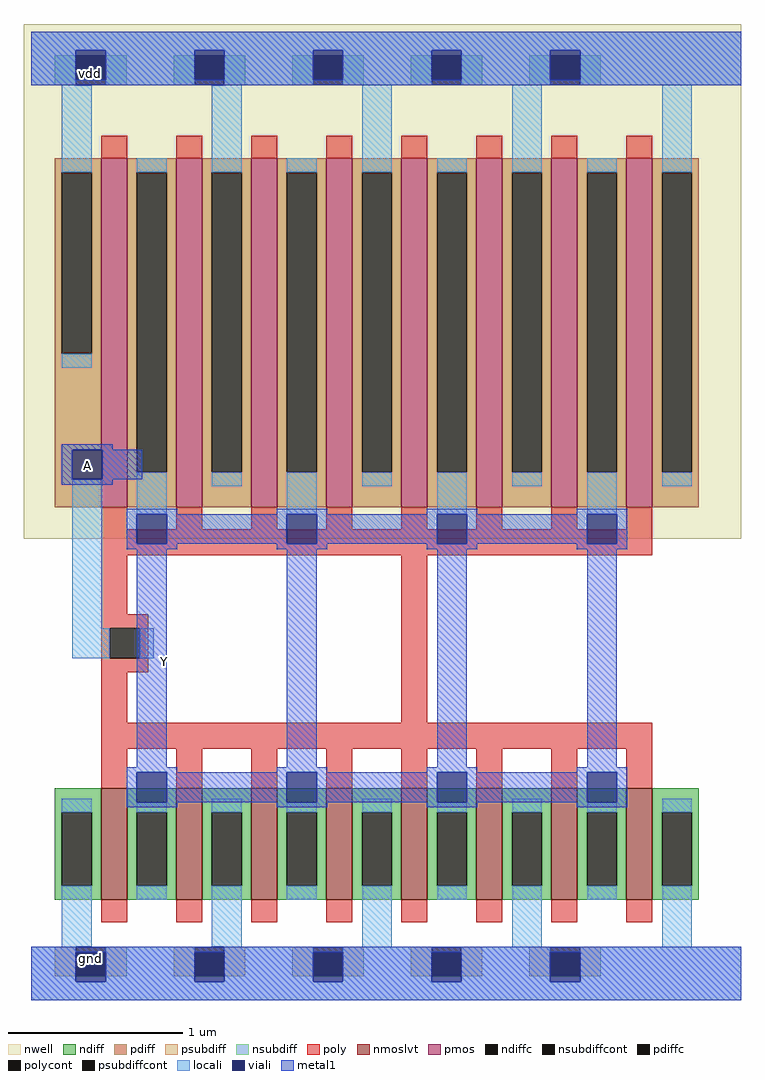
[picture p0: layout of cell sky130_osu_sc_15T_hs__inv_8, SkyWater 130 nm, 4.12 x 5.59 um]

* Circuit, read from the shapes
.subckt sky130_osu_sc_15T_hs__inv_8 Y A
XM1 Y A gnd gnd sky130_fd_pr__nfet_01v8_lvt w=0.64 l=0.15 m=8
XM2 Y A vdd vdd sky130_fd_pr__pfet_01v8 w=2 l=0.15 m=8
.ends

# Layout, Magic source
magic
tech sky130A
magscale 1 2
<< nwell >>
rect -9 529 814 1119
<< nmoslvt >>
rect 80 115 110 243
rect 166 115 196 243
rect 252 115 282 243
rect 338 115 368 243
rect 424 115 454 243
rect 510 115 540 243
rect 596 115 626 243
rect 682 115 712 243
<< pmos >>
rect 80 565 110 965
rect 166 565 196 965
rect 252 565 282 965
rect 338 565 368 965
rect 424 565 454 965
rect 510 565 540 965
rect 596 565 626 965
rect 682 565 712 965
<< ndiff >>
rect 27 215 80 243
rect 27 131 35 215
rect 69 131 80 215
rect 27 115 80 131
rect 110 215 166 243
rect 110 131 121 215
rect 155 131 166 215
rect 110 115 166 131
rect 196 215 252 243
rect 196 131 207 215
rect 241 131 252 215
rect 196 115 252 131
rect 282 215 338 243
rect 282 131 293 215
rect 327 131 338 215
rect 282 115 338 131
rect 368 215 424 243
rect 368 131 379 215
rect 413 131 424 215
rect 368 115 424 131
rect 454 215 510 243
rect 454 131 465 215
rect 499 131 510 215
rect 454 115 510 131
rect 540 215 596 243
rect 540 131 551 215
rect 585 131 596 215
rect 540 115 596 131
rect 626 215 682 243
rect 626 131 637 215
rect 671 131 682 215
rect 626 115 682 131
rect 712 215 765 243
rect 712 131 723 215
rect 757 131 765 215
rect 712 115 765 131
<< pdiff >>
rect 27 949 80 965
rect 27 741 35 949
rect 69 741 80 949
rect 27 565 80 741
rect 110 949 166 965
rect 110 605 121 949
rect 155 605 166 949
rect 110 565 166 605
rect 196 949 252 965
rect 196 605 207 949
rect 241 605 252 949
rect 196 565 252 605
rect 282 949 338 965
rect 282 605 293 949
rect 327 605 338 949
rect 282 565 338 605
rect 368 949 424 965
rect 368 605 379 949
rect 413 605 424 949
rect 368 565 424 605
rect 454 949 510 965
rect 454 605 465 949
rect 499 605 510 949
rect 454 565 510 605
rect 540 949 596 965
rect 540 605 551 949
rect 585 605 596 949
rect 540 565 596 605
rect 626 949 682 965
rect 626 605 637 949
rect 671 605 682 949
rect 626 565 682 605
rect 712 949 765 965
rect 712 605 723 949
rect 757 605 765 949
rect 712 565 765 605
<< ndiffc >>
rect 35 131 69 215
rect 121 131 155 215
rect 207 131 241 215
rect 293 131 327 215
rect 379 131 413 215
rect 465 131 499 215
rect 551 131 585 215
rect 637 131 671 215
rect 723 131 757 215
<< pdiffc >>
rect 35 741 69 949
rect 121 605 155 949
rect 207 605 241 949
rect 293 605 327 949
rect 379 605 413 949
rect 465 605 499 949
rect 551 605 585 949
rect 637 605 671 949
rect 723 605 757 949
<< psubdiff >>
rect 27 27 51 61
rect 85 27 109 61
rect 163 27 187 61
rect 221 27 245 61
rect 299 27 323 61
rect 357 27 381 61
rect 435 27 459 61
rect 493 27 517 61
rect 571 27 595 61
rect 629 27 653 61
<< nsubdiff >>
rect 27 1049 51 1083
rect 85 1049 109 1083
rect 163 1049 187 1083
rect 221 1049 245 1083
rect 299 1049 323 1083
rect 357 1049 381 1083
rect 435 1049 459 1083
rect 493 1049 517 1083
rect 571 1049 595 1083
rect 629 1049 653 1083
<< psubdiffcont >>
rect 51 27 85 61
rect 187 27 221 61
rect 323 27 357 61
rect 459 27 493 61
rect 595 27 629 61
<< nsubdiffcont >>
rect 51 1049 85 1083
rect 187 1049 221 1083
rect 323 1049 357 1083
rect 459 1049 493 1083
rect 595 1049 629 1083
<< poly >>
rect 80 965 110 991
rect 166 965 196 991
rect 252 965 282 991
rect 338 965 368 991
rect 424 965 454 991
rect 510 965 540 991
rect 596 965 626 991
rect 682 965 712 991
rect 80 540 110 565
rect 166 540 196 565
rect 252 540 282 565
rect 338 540 368 565
rect 424 540 454 565
rect 510 540 540 565
rect 596 540 626 565
rect 682 540 712 565
rect 80 510 712 540
rect 80 442 110 510
rect 80 426 134 442
rect 80 392 90 426
rect 124 392 134 426
rect 80 376 134 392
rect 80 318 110 376
rect 424 318 454 510
rect 80 288 712 318
rect 80 243 110 288
rect 166 243 196 288
rect 252 243 282 288
rect 338 243 368 288
rect 424 243 454 288
rect 510 243 540 288
rect 596 243 626 288
rect 682 243 712 288
rect 80 89 110 115
rect 166 89 196 115
rect 252 89 282 115
rect 338 89 368 115
rect 424 89 454 115
rect 510 89 540 115
rect 596 89 626 115
rect 682 89 712 115
<< polycont >>
rect 90 392 124 426
<< locali >>
rect 0 1089 814 1110
rect 0 1049 51 1089
rect 85 1049 187 1089
rect 221 1049 323 1089
rect 357 1049 459 1089
rect 493 1049 595 1089
rect 629 1049 814 1089
rect 35 949 69 1049
rect 35 725 69 741
rect 121 949 155 965
rect 47 426 81 597
rect 121 557 155 605
rect 207 949 241 1049
rect 207 589 241 605
rect 293 949 327 965
rect 293 557 327 605
rect 379 949 413 1049
rect 379 589 413 605
rect 465 949 499 965
rect 465 557 499 605
rect 551 949 585 1049
rect 551 589 585 605
rect 637 949 671 965
rect 637 557 671 605
rect 723 949 757 1049
rect 723 589 757 605
rect 47 392 90 426
rect 124 392 140 426
rect 35 215 69 231
rect 35 61 69 131
rect 121 215 155 227
rect 121 115 155 131
rect 207 215 241 231
rect 207 61 241 131
rect 293 215 327 227
rect 293 115 327 131
rect 379 215 413 231
rect 379 61 413 131
rect 465 215 499 227
rect 465 115 499 131
rect 551 215 585 231
rect 551 61 585 131
rect 637 215 671 227
rect 637 115 671 131
rect 723 215 757 231
rect 723 61 757 131
rect 0 21 51 61
rect 85 21 187 61
rect 221 21 323 61
rect 357 21 459 61
rect 493 21 595 61
rect 629 21 814 61
rect 0 0 814 21
<< viali >>
rect 51 1083 85 1089
rect 51 1055 85 1083
rect 187 1083 221 1089
rect 187 1055 221 1083
rect 323 1083 357 1089
rect 323 1055 357 1083
rect 459 1083 493 1089
rect 459 1055 493 1083
rect 595 1083 629 1089
rect 595 1055 629 1083
rect 47 597 81 631
rect 121 523 155 557
rect 293 523 327 557
rect 465 523 499 557
rect 637 523 671 557
rect 121 227 155 261
rect 293 227 327 261
rect 465 227 499 261
rect 637 227 671 261
rect 51 27 85 55
rect 51 21 85 27
rect 187 27 221 55
rect 187 21 221 27
rect 323 27 357 55
rect 323 21 357 27
rect 459 27 493 55
rect 459 21 493 27
rect 595 27 629 55
rect 595 21 629 27
<< metal1 >>
rect 0 1089 814 1110
rect 0 1055 51 1089
rect 85 1055 187 1089
rect 221 1055 323 1089
rect 357 1055 459 1089
rect 493 1055 595 1089
rect 629 1055 814 1089
rect 0 1049 814 1055
rect 35 631 93 637
rect 35 597 47 631
rect 81 597 127 631
rect 35 591 93 597
rect 109 557 167 563
rect 281 557 339 563
rect 453 557 511 563
rect 625 557 683 563
rect 109 523 121 557
rect 155 523 293 557
rect 327 523 465 557
rect 499 523 637 557
rect 671 523 683 557
rect 109 517 167 523
rect 281 517 339 523
rect 453 517 511 523
rect 625 517 683 523
rect 121 267 155 517
rect 293 267 327 517
rect 465 267 499 517
rect 637 267 671 517
rect 109 261 167 267
rect 281 261 339 267
rect 453 261 511 267
rect 625 261 683 267
rect 109 227 121 261
rect 155 227 293 261
rect 327 227 465 261
rect 499 227 637 261
rect 671 227 683 261
rect 109 221 167 227
rect 281 221 339 227
rect 453 221 511 227
rect 625 221 683 227
rect 0 55 814 61
rect 0 21 51 55
rect 85 21 187 55
rect 221 21 323 55
rect 357 21 459 55
rect 493 21 595 55
rect 629 21 814 55
rect 0 0 814 21
<< labels >>
rlabel metal1 152 388 152 388 1 Y
port 1 n
rlabel viali 64 613 64 613 1 A
port 2 n
rlabel viali 68 48 68 48 1 gnd
rlabel viali 68 1062 68 1062 1 vdd
<< end >>
